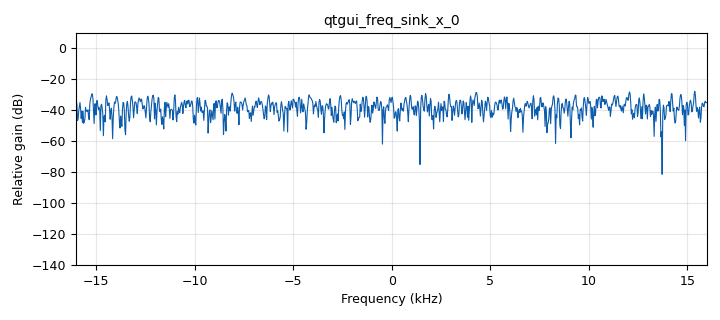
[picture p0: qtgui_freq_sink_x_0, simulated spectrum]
<?xml version='1.0' encoding='utf-8'?>
<?grc format='1' created='3.7.10'?>
<flow_graph>
<block>
<key>options</key>
<param><key>id</key><value>top_block</value></param>
<param><key>generate_options</key><value>qt_gui</value></param>
</block>
<block>
<key>variable</key>
<param><key>id</key><value>prefix</value></param>
<param><key>value</key><value>"/home/user/recordings/"</value></param>
</block>
<block>
<key>variable_qtgui_check_box</key>
<param><key>id</key><value>recording_checkbox</value></param>
<param><key>value</key><value>False</value></param>
<param><key>false</key><value>False</value></param>
<param><key>label</key><value>Record</value></param>
<param><key>true</key><value>True</value></param>
<param><key>type</key><value>int</value></param>
</block>
<block>
<key>variable</key>
<param><key>id</key><value>samp_rate</value></param>
<param><key>value</key><value>32000</value></param>
</block>
<block>
<key>analog_noise_source_x</key>
<param><key>id</key><value>analog_noise_source_x_0</value></param>
<param><key>amp</key><value>1</value></param>
<param><key>noise_type</key><value>analog.GR_GAUSSIAN</value></param>
<param><key>type</key><value>complex</value></param>
<param><key>seed</key><value>0</value></param>
</block>
<block>
<key>blocks_file_sink</key>
<param><key>id</key><value>blocks_file_sink_0_0</value></param>
<param><key>file</key><value>prefix + datetime.now().strftime("%Y.%m.%d.%H.%M.%S") + ".dat" if recording_checkbox else "/dev/null"</value></param>
<param><key>type</key><value>complex</value></param>
</block>
<block>
<key>blocks_throttle</key>
<param><key>id</key><value>blocks_throttle_0</value></param>
<param><key>samples_per_second</key><value>samp_rate</value></param>
<param><key>type</key><value>complex</value></param>
</block>
<block>
<key>import</key>
<param><key>id</key><value>import_0</value></param>
<param><key>import</key><value>from datetime import datetime</value></param>
</block>
<block>
<key>qtgui_freq_sink_x</key>
<param><key>id</key><value>qtgui_freq_sink_x_0</value></param>
<param><key>bw</key><value>samp_rate</value></param>
<param><key>fc</key><value>0</value></param>
<param><key>fftsize</key><value>1024</value></param>
<param><key>showports</key><value>True</value></param>
<param><key>type</key><value>complex</value></param>
<param><key>wintype</key><value>firdes.WIN_BLACKMAN_hARRIS</value></param>
</block>
<connection><source_block_id>analog_noise_source_x_0</source_block_id><sink_block_id>blocks_throttle_0</sink_block_id><source_key>0</source_key><sink_key>0</sink_key></connection>
<connection><source_block_id>blocks_throttle_0</source_block_id><sink_block_id>blocks_file_sink_0_0</sink_block_id><source_key>0</source_key><sink_key>0</sink_key></connection>
<connection><source_block_id>blocks_throttle_0</source_block_id><sink_block_id>qtgui_freq_sink_x_0</sink_block_id><source_key>0</source_key><sink_key>0</sink_key></connection>
</flow_graph>
